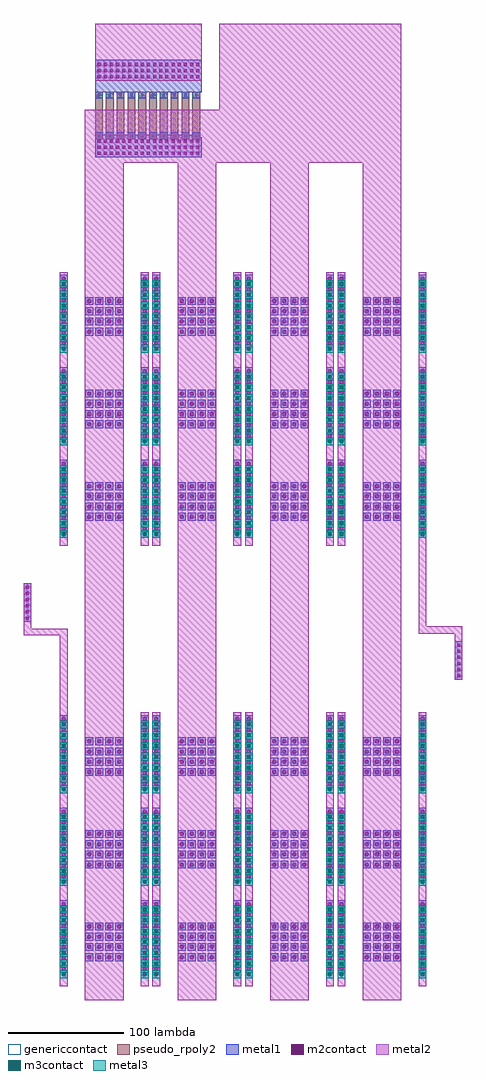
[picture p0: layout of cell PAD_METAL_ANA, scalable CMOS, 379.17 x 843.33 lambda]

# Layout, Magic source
magic
tech scmos
magscale 1 6
<< metal1 >>
rect 433 4706 985 4874
rect 433 4369 977 4486
rect 62 1960 102 2160
rect 2297 1660 2337 1860
<< metal2 >>
rect 433 4766 985 5060
rect 1076 4616 2020 5060
rect 380 4340 2020 4616
rect 250 2354 290 3774
rect 62 1924 102 2160
rect 62 1891 290 1924
rect 250 71 290 1891
rect 380 0 580 4340
rect 670 2354 710 3774
rect 730 2354 770 3774
rect 670 71 710 1491
rect 730 71 770 1491
rect 860 0 1060 4340
rect 1150 2354 1190 3774
rect 1210 2354 1250 3774
rect 1150 71 1190 1491
rect 1210 71 1250 1491
rect 1340 0 1540 4340
rect 1630 2354 1670 3774
rect 1690 2354 1730 3774
rect 1630 71 1670 1491
rect 1690 71 1730 1491
rect 1820 0 2020 4340
rect 2110 1937 2150 3774
rect 2110 1900 2337 1937
rect 2297 1660 2337 1900
rect 2110 71 2150 1491
use M2_M1_CDNS_704676826050  M2_M1_CDNS_704676826050_0
transform 1 0 2317 0 1 1760
box -20 -96 20 96
use M2_M1_CDNS_704676826050  M2_M1_CDNS_704676826050_1
transform 1 0 82 0 1 2060
box -20 -96 20 96
use p2res_CDNS_704676826058  p2res_CDNS_704676826058_0
array 0 0 0 0 9 56
transform 0 -1 993 1 0 4446
box 16 16 264 56
use via1_array_CDNS_704676826051  via1_array_CDNS_704676826051_0
array 0 0 0 0 6 56
transform 1 0 2110 0 1 621
box 0 0 40 40
use via1_array_CDNS_704676826051  via1_array_CDNS_704676826051_1
array 0 0 0 0 6 56
transform 1 0 1210 0 1 1101
box 0 0 40 40
use via1_array_CDNS_704676826051  via1_array_CDNS_704676826051_2
array 0 0 0 0 6 56
transform 1 0 2110 0 1 141
box 0 0 40 40
use via1_array_CDNS_704676826051  via1_array_CDNS_704676826051_3
array 0 0 0 0 6 56
transform 1 0 1630 0 1 141
box 0 0 40 40
use via1_array_CDNS_704676826051  via1_array_CDNS_704676826051_4
array 0 3 52 0 3 53
transform 1 0 1342 0 1 202
box 0 0 40 40
use via1_array_CDNS_704676826051  via1_array_CDNS_704676826051_5
array 0 0 0 0 6 56
transform 1 0 1690 0 1 141
box 0 0 40 40
use via1_array_CDNS_704676826051  via1_array_CDNS_704676826051_6
array 0 3 52 0 3 53
transform 1 0 1822 0 1 202
box 0 0 40 40
use via1_array_CDNS_704676826051  via1_array_CDNS_704676826051_7
array 0 0 0 0 6 56
transform 1 0 1210 0 1 141
box 0 0 40 40
use via1_array_CDNS_704676826051  via1_array_CDNS_704676826051_8
array 0 0 0 0 6 56
transform 1 0 2110 0 1 1101
box 0 0 40 40
use via1_array_CDNS_704676826051  via1_array_CDNS_704676826051_9
array 0 3 52 0 3 53
transform 1 0 1822 0 1 682
box 0 0 40 40
use via1_array_CDNS_704676826051  via1_array_CDNS_704676826051_10
array 0 0 0 0 6 56
transform 1 0 1630 0 1 621
box 0 0 40 40
use via1_array_CDNS_704676826051  via1_array_CDNS_704676826051_11
array 0 3 52 0 3 53
transform 1 0 1342 0 1 682
box 0 0 40 40
use via1_array_CDNS_704676826051  via1_array_CDNS_704676826051_12
array 0 3 52 0 3 53
transform 1 0 1822 0 1 1162
box 0 0 40 40
use via1_array_CDNS_704676826051  via1_array_CDNS_704676826051_13
array 0 0 0 0 6 56
transform 1 0 1210 0 1 621
box 0 0 40 40
use via1_array_CDNS_704676826051  via1_array_CDNS_704676826051_14
array 0 0 0 0 6 56
transform 1 0 1690 0 1 1101
box 0 0 40 40
use via1_array_CDNS_704676826051  via1_array_CDNS_704676826051_15
array 0 0 0 0 6 56
transform 1 0 1630 0 1 1101
box 0 0 40 40
use via1_array_CDNS_704676826051  via1_array_CDNS_704676826051_16
array 0 3 52 0 3 53
transform 1 0 1342 0 1 1162
box 0 0 40 40
use via1_array_CDNS_704676826051  via1_array_CDNS_704676826051_17
array 0 0 0 0 6 56
transform 1 0 1690 0 1 621
box 0 0 40 40
use via1_array_CDNS_704676826051  via1_array_CDNS_704676826051_18
array 0 0 0 0 6 56
transform 1 0 250 0 1 141
box 0 0 40 40
use via1_array_CDNS_704676826051  via1_array_CDNS_704676826051_19
array 0 3 52 0 3 53
transform 1 0 382 0 1 1162
box 0 0 40 40
use via1_array_CDNS_704676826051  via1_array_CDNS_704676826051_20
array 0 0 0 0 6 56
transform 1 0 730 0 1 141
box 0 0 40 40
use via1_array_CDNS_704676826051  via1_array_CDNS_704676826051_21
array 0 3 52 0 3 53
transform 1 0 862 0 1 202
box 0 0 40 40
use via1_array_CDNS_704676826051  via1_array_CDNS_704676826051_22
array 0 3 52 0 3 53
transform 1 0 382 0 1 202
box 0 0 40 40
use via1_array_CDNS_704676826051  via1_array_CDNS_704676826051_23
array 0 0 0 0 6 56
transform 1 0 250 0 1 1101
box 0 0 40 40
use via1_array_CDNS_704676826051  via1_array_CDNS_704676826051_24
array 0 0 0 0 6 56
transform 1 0 1150 0 1 621
box 0 0 40 40
use via1_array_CDNS_704676826051  via1_array_CDNS_704676826051_25
array 0 3 52 0 3 53
transform 1 0 862 0 1 682
box 0 0 40 40
use via1_array_CDNS_704676826051  via1_array_CDNS_704676826051_26
array 0 0 0 0 6 56
transform 1 0 730 0 1 621
box 0 0 40 40
use via1_array_CDNS_704676826051  via1_array_CDNS_704676826051_27
array 0 0 0 0 6 56
transform 1 0 670 0 1 621
box 0 0 40 40
use via1_array_CDNS_704676826051  via1_array_CDNS_704676826051_28
array 0 3 52 0 3 53
transform 1 0 382 0 1 682
box 0 0 40 40
use via1_array_CDNS_704676826051  via1_array_CDNS_704676826051_29
array 0 0 0 0 6 56
transform 1 0 250 0 1 621
box 0 0 40 40
use via1_array_CDNS_704676826051  via1_array_CDNS_704676826051_30
array 0 0 0 0 6 56
transform 1 0 1150 0 1 1101
box 0 0 40 40
use via1_array_CDNS_704676826051  via1_array_CDNS_704676826051_31
array 0 3 52 0 3 53
transform 1 0 862 0 1 1162
box 0 0 40 40
use via1_array_CDNS_704676826051  via1_array_CDNS_704676826051_32
array 0 0 0 0 6 56
transform 1 0 1150 0 1 141
box 0 0 40 40
use via1_array_CDNS_704676826051  via1_array_CDNS_704676826051_33
array 0 0 0 0 6 56
transform 1 0 670 0 1 141
box 0 0 40 40
use via1_array_CDNS_704676826051  via1_array_CDNS_704676826051_34
array 0 0 0 0 6 56
transform 1 0 730 0 1 1101
box 0 0 40 40
use via1_array_CDNS_704676826051  via1_array_CDNS_704676826051_35
array 0 0 0 0 6 56
transform 1 0 670 0 1 1101
box 0 0 40 40
use via1_array_CDNS_704676826051  via1_array_CDNS_704676826051_36
array 0 0 0 0 6 56
transform 1 0 670 0 1 3384
box 0 0 40 40
use via1_array_CDNS_704676826051  via1_array_CDNS_704676826051_37
array 0 0 0 0 6 56
transform 1 0 250 0 1 3384
box 0 0 40 40
use via1_array_CDNS_704676826051  via1_array_CDNS_704676826051_38
array 0 0 0 0 6 56
transform 1 0 730 0 1 3384
box 0 0 40 40
use via1_array_CDNS_704676826051  via1_array_CDNS_704676826051_39
array 0 3 52 0 3 53
transform 1 0 862 0 1 2965
box 0 0 40 40
use via1_array_CDNS_704676826051  via1_array_CDNS_704676826051_40
array 0 0 0 0 6 56
transform 1 0 670 0 1 2904
box 0 0 40 40
use via1_array_CDNS_704676826051  via1_array_CDNS_704676826051_41
array 0 0 0 0 6 56
transform 1 0 730 0 1 2904
box 0 0 40 40
use via1_array_CDNS_704676826051  via1_array_CDNS_704676826051_42
array 0 0 0 0 6 56
transform 1 0 250 0 1 2904
box 0 0 40 40
use via1_array_CDNS_704676826051  via1_array_CDNS_704676826051_43
array 0 0 0 0 6 56
transform 1 0 1150 0 1 2904
box 0 0 40 40
use via1_array_CDNS_704676826051  via1_array_CDNS_704676826051_44
array 0 16 32 0 2 32
transform 1 0 433 0 1 4766
box 0 0 40 40
use via1_array_CDNS_704676826051  via1_array_CDNS_704676826051_45
array 0 16 32 0 2 32
transform 1 0 433 0 1 4369
box 0 0 40 40
use via1_array_CDNS_704676826051  via1_array_CDNS_704676826051_46
array 0 3 52 0 3 53
transform 1 0 862 0 1 3445
box 0 0 40 40
use via1_array_CDNS_704676826051  via1_array_CDNS_704676826051_47
array 0 0 0 0 6 56
transform 1 0 1150 0 1 3384
box 0 0 40 40
use via1_array_CDNS_704676826051  via1_array_CDNS_704676826051_48
array 0 3 52 0 3 53
transform 1 0 382 0 1 3445
box 0 0 40 40
use via1_array_CDNS_704676826051  via1_array_CDNS_704676826051_49
array 0 3 52 0 3 53
transform 1 0 382 0 1 2965
box 0 0 40 40
use via1_array_CDNS_704676826051  via1_array_CDNS_704676826051_50
array 0 3 52 0 3 53
transform 1 0 1822 0 1 2965
box 0 0 40 40
use via1_array_CDNS_704676826051  via1_array_CDNS_704676826051_51
array 0 0 0 0 6 56
transform 1 0 1630 0 1 2904
box 0 0 40 40
use via1_array_CDNS_704676826051  via1_array_CDNS_704676826051_52
array 0 3 52 0 3 53
transform 1 0 1822 0 1 3445
box 0 0 40 40
use via1_array_CDNS_704676826051  via1_array_CDNS_704676826051_53
array 0 0 0 0 6 56
transform 1 0 1690 0 1 3384
box 0 0 40 40
use via1_array_CDNS_704676826051  via1_array_CDNS_704676826051_54
array 0 0 0 0 6 56
transform 1 0 1210 0 1 2904
box 0 0 40 40
use via1_array_CDNS_704676826051  via1_array_CDNS_704676826051_55
array 0 3 52 0 3 53
transform 1 0 1342 0 1 2965
box 0 0 40 40
use via1_array_CDNS_704676826051  via1_array_CDNS_704676826051_56
array 0 0 0 0 6 56
transform 1 0 1690 0 1 2904
box 0 0 40 40
use via1_array_CDNS_704676826051  via1_array_CDNS_704676826051_57
array 0 0 0 0 6 56
transform 1 0 2110 0 1 2904
box 0 0 40 40
use via1_array_CDNS_704676826051  via1_array_CDNS_704676826051_58
array 0 0 0 0 6 56
transform 1 0 2110 0 1 3384
box 0 0 40 40
use via1_array_CDNS_704676826051  via1_array_CDNS_704676826051_59
array 0 0 0 0 6 56
transform 1 0 1630 0 1 3384
box 0 0 40 40
use via1_array_CDNS_704676826051  via1_array_CDNS_704676826051_60
array 0 3 52 0 3 53
transform 1 0 1342 0 1 3445
box 0 0 40 40
use via1_array_CDNS_704676826051  via1_array_CDNS_704676826051_61
array 0 0 0 0 6 56
transform 1 0 1210 0 1 3384
box 0 0 40 40
use via1_array_CDNS_704676826051  via1_array_CDNS_704676826051_62
array 0 3 52 0 3 53
transform 1 0 1822 0 1 2485
box 0 0 40 40
use via1_array_CDNS_704676826051  via1_array_CDNS_704676826051_63
array 0 0 0 0 6 56
transform 1 0 1150 0 1 2424
box 0 0 40 40
use via1_array_CDNS_704676826051  via1_array_CDNS_704676826051_64
array 0 0 0 0 6 56
transform 1 0 670 0 1 2424
box 0 0 40 40
use via1_array_CDNS_704676826051  via1_array_CDNS_704676826051_65
array 0 3 52 0 3 53
transform 1 0 862 0 1 2485
box 0 0 40 40
use via1_array_CDNS_704676826051  via1_array_CDNS_704676826051_66
array 0 0 0 0 6 56
transform 1 0 730 0 1 2424
box 0 0 40 40
use via1_array_CDNS_704676826051  via1_array_CDNS_704676826051_67
array 0 0 0 0 6 56
transform 1 0 1630 0 1 2424
box 0 0 40 40
use via1_array_CDNS_704676826051  via1_array_CDNS_704676826051_68
array 0 3 52 0 3 53
transform 1 0 382 0 1 2485
box 0 0 40 40
use via1_array_CDNS_704676826051  via1_array_CDNS_704676826051_69
array 0 0 0 0 6 56
transform 1 0 1210 0 1 2424
box 0 0 40 40
use via1_array_CDNS_704676826051  via1_array_CDNS_704676826051_70
array 0 3 52 0 3 53
transform 1 0 1342 0 1 2485
box 0 0 40 40
use via1_array_CDNS_704676826051  via1_array_CDNS_704676826051_71
array 0 0 0 0 6 56
transform 1 0 1690 0 1 2424
box 0 0 40 40
use via1_array_CDNS_704676826051  via1_array_CDNS_704676826051_72
array 0 0 0 0 6 56
transform 1 0 2110 0 1 2424
box 0 0 40 40
use via1_array_CDNS_704676826051  via1_array_CDNS_704676826051_73
array 0 0 0 0 6 56
transform 1 0 250 0 1 2424
box 0 0 40 40
use via2_array_CDNS_704676826052  via2_array_CDNS_704676826052_0
array 0 0 0 0 6 56
transform 1 0 1210 0 1 1073
box 0 0 40 40
use via2_array_CDNS_704676826052  via2_array_CDNS_704676826052_1
array 0 0 0 0 6 56
transform 1 0 1690 0 1 593
box 0 0 40 40
use via2_array_CDNS_704676826052  via2_array_CDNS_704676826052_2
array 0 0 0 0 6 56
transform 1 0 1630 0 1 593
box 0 0 40 40
use via2_array_CDNS_704676826052  via2_array_CDNS_704676826052_3
array 0 0 0 0 6 56
transform 1 0 1210 0 1 593
box 0 0 40 40
use via2_array_CDNS_704676826052  via2_array_CDNS_704676826052_4
array 0 0 0 0 6 56
transform 1 0 1630 0 1 113
box 0 0 40 40
use via2_array_CDNS_704676826052  via2_array_CDNS_704676826052_5
array 0 0 0 0 6 56
transform 1 0 1690 0 1 1073
box 0 0 40 40
use via2_array_CDNS_704676826052  via2_array_CDNS_704676826052_6
array 0 0 0 0 6 56
transform 1 0 2110 0 1 113
box 0 0 40 40
use via2_array_CDNS_704676826052  via2_array_CDNS_704676826052_7
array 0 0 0 0 6 56
transform 1 0 2110 0 1 1073
box 0 0 40 40
use via2_array_CDNS_704676826052  via2_array_CDNS_704676826052_8
array 0 0 0 0 6 56
transform 1 0 1210 0 1 113
box 0 0 40 40
use via2_array_CDNS_704676826052  via2_array_CDNS_704676826052_9
array 0 0 0 0 6 56
transform 1 0 1630 0 1 1073
box 0 0 40 40
use via2_array_CDNS_704676826052  via2_array_CDNS_704676826052_10
array 0 0 0 0 6 56
transform 1 0 1690 0 1 113
box 0 0 40 40
use via2_array_CDNS_704676826052  via2_array_CDNS_704676826052_11
array 0 0 0 0 6 56
transform 1 0 2110 0 1 593
box 0 0 40 40
use via2_array_CDNS_704676826052  via2_array_CDNS_704676826052_12
array 0 0 0 0 6 56
transform 1 0 670 0 1 113
box 0 0 40 40
use via2_array_CDNS_704676826052  via2_array_CDNS_704676826052_13
array 0 0 0 0 6 56
transform 1 0 250 0 1 1073
box 0 0 40 40
use via2_array_CDNS_704676826052  via2_array_CDNS_704676826052_14
array 0 0 0 0 6 56
transform 1 0 670 0 1 1073
box 0 0 40 40
use via2_array_CDNS_704676826052  via2_array_CDNS_704676826052_15
array 0 0 0 0 6 56
transform 1 0 250 0 1 113
box 0 0 40 40
use via2_array_CDNS_704676826052  via2_array_CDNS_704676826052_16
array 0 0 0 0 6 56
transform 1 0 1150 0 1 593
box 0 0 40 40
use via2_array_CDNS_704676826052  via2_array_CDNS_704676826052_17
array 0 0 0 0 6 56
transform 1 0 730 0 1 593
box 0 0 40 40
use via2_array_CDNS_704676826052  via2_array_CDNS_704676826052_18
array 0 0 0 0 6 56
transform 1 0 670 0 1 593
box 0 0 40 40
use via2_array_CDNS_704676826052  via2_array_CDNS_704676826052_19
array 0 0 0 0 6 56
transform 1 0 250 0 1 593
box 0 0 40 40
use via2_array_CDNS_704676826052  via2_array_CDNS_704676826052_20
array 0 0 0 0 6 56
transform 1 0 1150 0 1 1073
box 0 0 40 40
use via2_array_CDNS_704676826052  via2_array_CDNS_704676826052_21
array 0 0 0 0 6 56
transform 1 0 1150 0 1 113
box 0 0 40 40
use via2_array_CDNS_704676826052  via2_array_CDNS_704676826052_22
array 0 0 0 0 6 56
transform 1 0 730 0 1 1073
box 0 0 40 40
use via2_array_CDNS_704676826052  via2_array_CDNS_704676826052_23
array 0 0 0 0 6 56
transform 1 0 730 0 1 113
box 0 0 40 40
use via2_array_CDNS_704676826052  via2_array_CDNS_704676826052_24
array 0 0 0 0 6 56
transform 1 0 1150 0 1 2876
box 0 0 40 40
use via2_array_CDNS_704676826052  via2_array_CDNS_704676826052_25
array 0 0 0 0 6 56
transform 1 0 250 0 1 3356
box 0 0 40 40
use via2_array_CDNS_704676826052  via2_array_CDNS_704676826052_26
array 0 0 0 0 6 56
transform 1 0 730 0 1 3356
box 0 0 40 40
use via2_array_CDNS_704676826052  via2_array_CDNS_704676826052_27
array 0 0 0 0 6 56
transform 1 0 1150 0 1 3356
box 0 0 40 40
use via2_array_CDNS_704676826052  via2_array_CDNS_704676826052_28
array 0 0 0 0 6 56
transform 1 0 670 0 1 3356
box 0 0 40 40
use via2_array_CDNS_704676826052  via2_array_CDNS_704676826052_29
array 0 0 0 0 6 56
transform 1 0 250 0 1 2876
box 0 0 40 40
use via2_array_CDNS_704676826052  via2_array_CDNS_704676826052_30
array 0 0 0 0 6 56
transform 1 0 730 0 1 2876
box 0 0 40 40
use via2_array_CDNS_704676826052  via2_array_CDNS_704676826052_31
array 0 0 0 0 6 56
transform 1 0 670 0 1 2876
box 0 0 40 40
use via2_array_CDNS_704676826052  via2_array_CDNS_704676826052_32
array 0 0 0 0 6 56
transform 1 0 1210 0 1 3356
box 0 0 40 40
use via2_array_CDNS_704676826052  via2_array_CDNS_704676826052_33
array 0 0 0 0 6 56
transform 1 0 1630 0 1 3356
box 0 0 40 40
use via2_array_CDNS_704676826052  via2_array_CDNS_704676826052_34
array 0 0 0 0 6 56
transform 1 0 1210 0 1 2876
box 0 0 40 40
use via2_array_CDNS_704676826052  via2_array_CDNS_704676826052_35
array 0 0 0 0 6 56
transform 1 0 2110 0 1 3356
box 0 0 40 40
use via2_array_CDNS_704676826052  via2_array_CDNS_704676826052_36
array 0 0 0 0 6 56
transform 1 0 1690 0 1 2876
box 0 0 40 40
use via2_array_CDNS_704676826052  via2_array_CDNS_704676826052_37
array 0 0 0 0 6 56
transform 1 0 1690 0 1 3356
box 0 0 40 40
use via2_array_CDNS_704676826052  via2_array_CDNS_704676826052_38
array 0 0 0 0 6 56
transform 1 0 2110 0 1 2876
box 0 0 40 40
use via2_array_CDNS_704676826052  via2_array_CDNS_704676826052_39
array 0 0 0 0 6 56
transform 1 0 1630 0 1 2876
box 0 0 40 40
use via2_array_CDNS_704676826052  via2_array_CDNS_704676826052_40
array 0 0 0 0 6 56
transform 1 0 1210 0 1 2396
box 0 0 40 40
use via2_array_CDNS_704676826052  via2_array_CDNS_704676826052_41
array 0 0 0 0 6 56
transform 1 0 1690 0 1 2396
box 0 0 40 40
use via2_array_CDNS_704676826052  via2_array_CDNS_704676826052_42
array 0 0 0 0 6 56
transform 1 0 1150 0 1 2396
box 0 0 40 40
use via2_array_CDNS_704676826052  via2_array_CDNS_704676826052_43
array 0 0 0 0 6 56
transform 1 0 730 0 1 2396
box 0 0 40 40
use via2_array_CDNS_704676826052  via2_array_CDNS_704676826052_44
array 0 0 0 0 6 56
transform 1 0 670 0 1 2396
box 0 0 40 40
use via2_array_CDNS_704676826052  via2_array_CDNS_704676826052_45
array 0 0 0 0 6 56
transform 1 0 1630 0 1 2396
box 0 0 40 40
use via2_array_CDNS_704676826052  via2_array_CDNS_704676826052_46
array 0 0 0 0 6 56
transform 1 0 2110 0 1 2396
box 0 0 40 40
use via2_array_CDNS_704676826052  via2_array_CDNS_704676826052_47
array 0 0 0 0 6 56
transform 1 0 250 0 1 2396
box 0 0 40 40
<< end >>

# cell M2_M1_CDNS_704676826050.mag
magic
tech scmos
magscale 1 3
<< metal1 >>
rect -10 44 10 48
rect -10 36 -4 44
rect 4 36 10 44
rect -10 28 10 36
rect -10 20 -4 28
rect 4 20 10 28
rect -10 12 10 20
rect -10 4 -4 12
rect 4 4 10 12
rect -10 -4 10 4
rect -10 -12 -4 -4
rect 4 -12 10 -4
rect -10 -20 10 -12
rect -10 -28 -4 -20
rect 4 -28 10 -20
rect -10 -36 10 -28
rect -10 -44 -4 -36
rect 4 -44 10 -36
rect -10 -48 10 -44
<< m2contact >>
rect -4 36 4 44
rect -4 20 4 28
rect -4 4 4 12
rect -4 -12 4 -4
rect -4 -28 4 -20
rect -4 -44 4 -36
<< metal2 >>
rect -10 44 10 48
rect -10 36 -4 44
rect 4 36 10 44
rect -10 28 10 36
rect -10 20 -4 28
rect 4 20 10 28
rect -10 12 10 20
rect -10 4 -4 12
rect 4 4 10 12
rect -10 -4 10 4
rect -10 -12 -4 -4
rect 4 -12 10 -4
rect -10 -20 10 -12
rect -10 -28 -4 -20
rect 4 -28 10 -20
rect -10 -36 10 -28
rect -10 -44 -4 -36
rect 4 -44 10 -36
rect -10 -48 10 -44
<< end >>

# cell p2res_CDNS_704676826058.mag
magic
tech scmos
magscale 1 3
<< pseudo_rpoly2 >>
rect 8 8 132 28
use poly2cont_CDNS_704676826059  poly2cont_CDNS_704676826059_0
transform 1 0 114 0 1 8
box 0 0 18 20
use poly2cont_CDNS_704676826059  poly2cont_CDNS_704676826059_1
transform 1 0 8 0 1 8
box 0 0 18 20
<< end >>

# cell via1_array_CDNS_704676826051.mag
magic
tech scmos
magscale 1 3
<< metal1 >>
rect 0 14 20 20
rect 0 6 6 14
rect 14 6 20 14
rect 0 0 20 6
<< m2contact >>
rect 6 6 14 14
<< metal2 >>
rect 0 14 20 20
rect 0 6 6 14
rect 14 6 20 14
rect 0 0 20 6
<< end >>

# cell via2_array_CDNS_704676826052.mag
magic
tech scmos
magscale 1 3
<< metal2 >>
rect 0 14 20 20
rect 0 6 6 14
rect 14 6 20 14
rect 0 0 20 6
<< m3contact >>
rect 6 6 14 14
<< metal3 >>
rect 0 14 20 20
rect 0 6 6 14
rect 14 6 20 14
rect 0 0 20 6
<< end >>

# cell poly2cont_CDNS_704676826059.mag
magic
tech scmos
magscale 1 3
<< genericcontact >>
rect 6 7 12 13
<< metal1 >>
rect 0 0 18 20
<< pseudo_rpoly2 >>
rect 1 1 17 19
<< end >>
